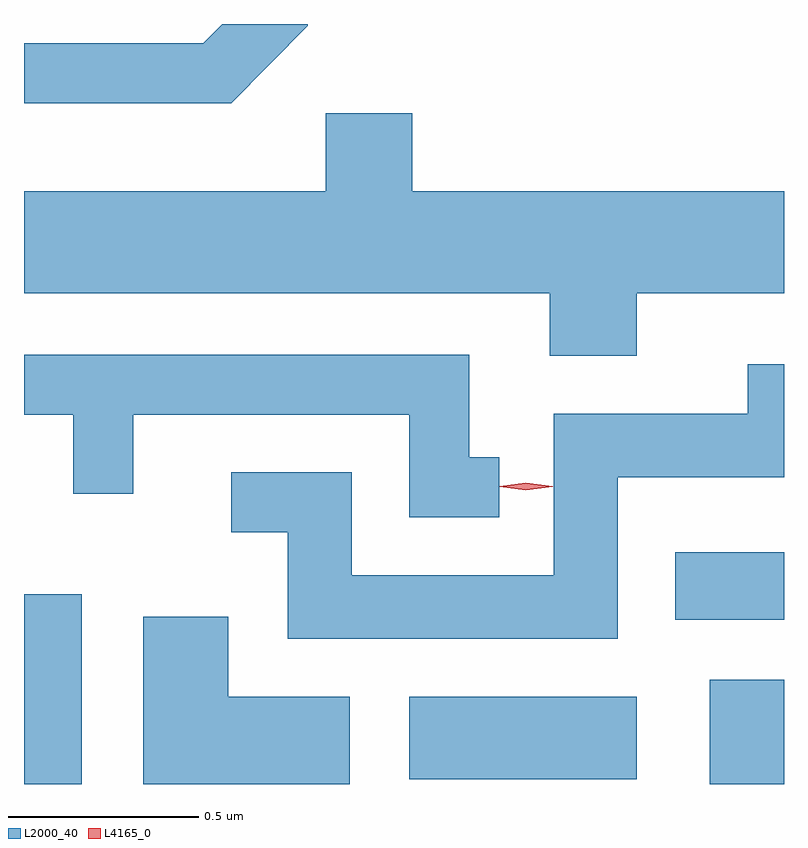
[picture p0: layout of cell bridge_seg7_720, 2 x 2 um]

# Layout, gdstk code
import gdstk
lib = gdstk.Library(unit=1e-6, precision=1e-09)
def R(c, l, rs):  # rectangles x0, y0, x1, y1
    for r in rs: c.add(gdstk.rectangle(r[:2], r[2:], *l))
def P(c, l, *ps):  # polygons
    for p in ps: c.add(gdstk.Polygon(p, *l))
L2000_40 = (2000, 40)
L4165_0 = (4165, 0)

bridge_seg7_720 = lib.new_cell('bridge_seg7_720')
R(bridge_seg7_720, L2000_40, [(925.807,1690.824,925.959,1691.324), (927.611,1690.824,927.807,1691.099), (926.821,1690.836,927.419,1691.054), (927.521,1691.256,927.807,1691.434)])
P(bridge_seg7_720, L2000_40, [(926.554,1692.819),(926.554,1692.824),(926.329,1692.824),(926.279,1692.774),(925.807,1692.774),(925.807,1692.616),(926.352,1692.616)],
  [(927.419,1692.116),(927.807,1692.116),(927.807,1692.384),(926.829,1692.384),(926.829,1692.589),(926.601,1692.589),(926.601,1692.384),(925.807,1692.384),(925.807,1692.116),(927.191,1692.116),(927.191,1691.951),(927.419,1691.951)],
  [(927.058,1691.684),(926.979,1691.684),(926.979,1691.954),(925.807,1691.954),(925.807,1691.796),(925.936,1691.796),(925.936,1691.588),(926.094,1691.588),(926.094,1691.796),(926.821,1691.796),(926.821,1691.526),(927.058,1691.526)],
  [(927.369,1691.631),(927.807,1691.631),(927.807,1691.928),(927.711,1691.928),(927.711,1691.799),(927.201,1691.799),(927.201,1691.374),(926.669,1691.374),(926.669,1691.644),(926.353,1691.644),(926.353,1691.486),(926.501,1691.486),(926.501,1691.206),(927.369,1691.206)],
  [(926.664,1691.054),(926.344,1691.054),(926.344,1691.264),(926.121,1691.264),(926.121,1690.824),(926.664,1690.824)])
P(bridge_seg7_720, L4165_0, [(927.128,1691.597),(927.059,1691.606),(927.059,1691.607),(927.059,1691.607),(927.128,1691.617),(927.198,1691.607),(927.198,1691.607),(927.198,1691.606)])

lib.write_gds('bridge_seg7_720.gds')
